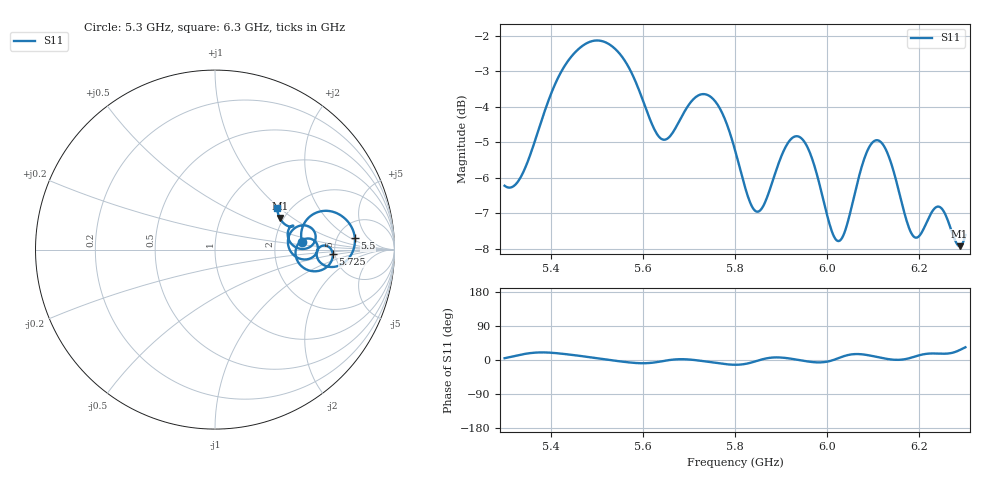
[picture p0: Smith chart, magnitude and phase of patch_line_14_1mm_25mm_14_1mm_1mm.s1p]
! Created with skrf 1.8.0 (http://scikit-rf.org).
# Hz S RI R 50.0
!freq ReS11 ImS11
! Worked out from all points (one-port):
!   401 points, 5.3 GHz to 6.3 GHz, reference 50 ohm
!   lowest |S11| = -7.9 dB at 6.287 GHz (marker M1), VSWR 2.34, Z = 95.2 + j40.2 ohm
!   |S11| at or under -10 dB: nowhere
!   S11 on the Smith chart (normalised r, x): 5.3 GHz: 2.87, +0.30; 5.5 GHz: 7.33, +2.45; 5.725 GHz: 4.78, -0.39; 6.3 GHz: 1.72, +0.96
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5.3e9  0.4865 0.0404
5.3375e9  0.4889 0.1284
5.375e9  0.5535 0.2008
5.425e9  0.6812 0.2017
5.5e9  0.7791 0.0649
5.55e9  0.7471 -0.0459
5.6025e9  0.6305 -0.095
5.64e9  0.5672 -0.0362
5.675e9  0.5947 0.0201
5.725e9  0.6557 -0.0229
5.76e9  0.6318 -0.0888
5.8e9  0.535 -0.1191
5.85e9  0.4487 -0.0112
5.8875e9  0.5052 0.0605
5.925e9  0.5698 0.0279
5.9525e9  0.5597 -0.0279
5.985e9  0.4828 -0.0534
6.02e9  0.4088 0.0201
6.05e9  0.4335 0.1103
6.0775e9  0.5083 0.1337
6.1125e9  0.5608 0.0677
6.145e9  0.5094 0.0062
6.175e9  0.4297 0.028
6.215e9  0.4149 0.1208
6.2475e9  0.4351 0.1302
6.27e9  0.3996 0.1343
6.2875e9  0.3602 0.177
6.3e9  0.3467 0.23
